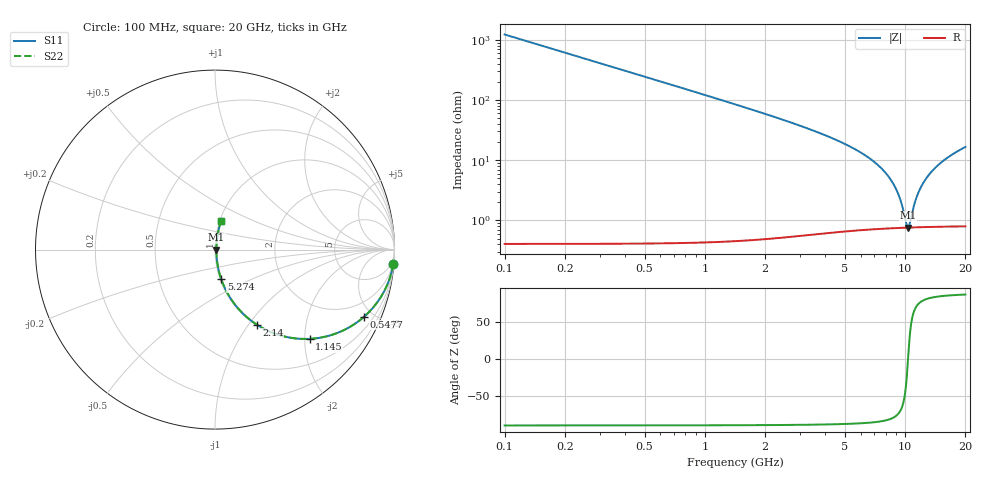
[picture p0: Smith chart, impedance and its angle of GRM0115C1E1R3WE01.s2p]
!Murata Part Number: GRM0115C1E1R3WE01
!These Parameters are Measured in Series Mode Connection
!Data Generated on Mar 30, 2021
!  o--ll--o
!Port1  Port2
!  o------o
!Operation Temp=25[degC], DC Bias Voltage=0[V]
!Freq. Start=100[MHz] Stop=20[GHz] 401[Steps]
# Hz S RI R 50
!Freq.(Hz) S11(Real) S11(Imag) S21(Real) S21(Imag) S12(Real) S12(Imag) S22(Real) S22(Imag)
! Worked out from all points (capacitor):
!   401 points, 100 MHz to 20 GHz, reference 50 ohm
!   read as one part in series: C = 1.3 pF near 199.5 MHz
!   lowest |Z| = 761 mohm at 10.35 GHz (marker M1)
!   series resonance near 10.34 GHz, so ESL is about 180 pH
!   S11 on the Smith chart (normalised r, x): 100 MHz: 1, -24; 547.8 MHz: 1.01, -4.46; 1.145 GHz: 1.01, -2.11; 2.14 GHz: 1.01, -1.09; 5.274 GHz: 1.01, -0.34; 20 GHz: 1.02, +0.33
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1e8  0.9933 -0.0811  0.00666 0.0811  0.00666 0.0811  0.9933 -0.0811
2.99e8  0.9434 -0.2306  0.0566 0.2306  0.0566 0.2306  0.9434 -0.2306
5.4775e8  0.8319 -0.373  0.1681 0.373  0.1681 0.373  0.8319 -0.373
7.965e8  0.6994 -0.4571  0.3006 0.4571  0.3006 0.4571  0.6994 -0.4571
1.14475e9  0.5268 -0.4972  0.4732 0.4972  0.4732 0.4972  0.5268 -0.4972
1.5925e9  0.3604 -0.4771  0.6396 0.4771  0.6396 0.4771  0.3604 -0.4771
2.13975e9  0.2319 -0.4175  0.7681 0.4175  0.7681 0.4175  0.2319 -0.4175
3.43325e9  0.095 -0.2841  0.905 0.2841  0.905 0.2841  0.095 -0.2841
5.274e9  0.0343 -0.1636  0.9657 0.1636  0.9657 0.1636  0.0343 -0.1636
6.7665e9  0.0172 -0.1001  0.9828 0.1001  0.9828 0.1001  0.0172 -0.1001
7.9605e9  0.011 -0.061  0.989 0.061  0.989 0.061  0.011 -0.061
8.856e9  0.0087 -0.0359  0.9913 0.0359  0.9913 0.0359  0.0087 -0.0359
9.50275e9  0.00786 -0.0196  0.9921 0.0196  0.9921 0.0196  0.00786 -0.0196
1.005e10  0.00757 -0.00662  0.9924 0.00662  0.9924 0.00662  0.00757 -0.00662
1.03485e10  0.00755 0.000135  0.9924 -0.000135  0.9924 -0.000135  0.00755 0.000135
1.049775e10  0.00758 0.00344  0.9924 -0.00344  0.9924 -0.00344  0.00758 0.00344
1.11445e10  0.00791 0.0172  0.9921 -0.0172  0.9921 -0.0172  0.00791 0.0172
1.1642e10  0.0084 0.0274  0.9916 -0.0274  0.9916 -0.0274  0.0084 0.0274
1.238825e10  0.00946 0.0418  0.9905 -0.0418  0.9905 -0.0418  0.00946 0.0418
1.338325e10  0.0114 0.0599  0.9886 -0.0599  0.9886 -0.0599  0.0114 0.0599
1.67165e10  0.021 0.1134  0.979 -0.1134  0.979 -0.1134  0.021 0.1134
2e10  0.0341 0.1589  0.9659 -0.1589  0.9659 -0.1589  0.0341 0.1589
